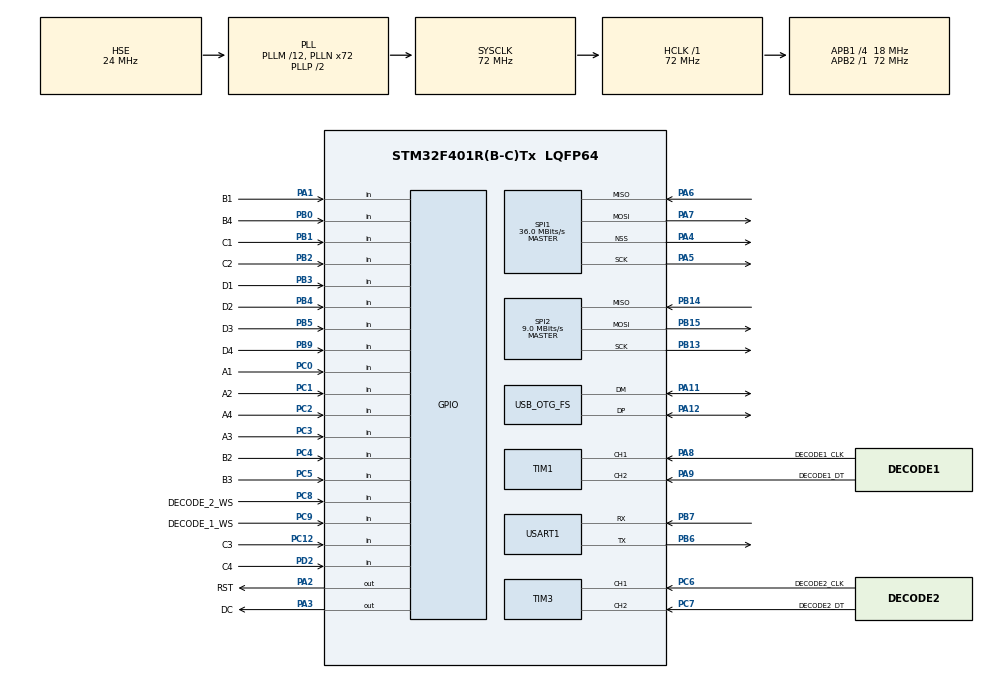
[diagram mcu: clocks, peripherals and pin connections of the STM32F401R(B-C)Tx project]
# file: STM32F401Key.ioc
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FREERTOS.Tasks01=defaultTask,0,128,StartDefaultTask,Default,NULL,Dynamic,NULL,NULL;Button_State,-3,128,State,As weak,NULL,Dynamic,NULL,NULL;Line1,-3,128,Line1_RGB,As weak,NULL,Dynamic,NULL,NULL;Line2,-3,128,Line2_RGB,As weak,NULL,Dynamic,NULL,NULL;Line3,-3,128,Line3_RGB,As weak,NULL,Dynamic,NULL,NULL;Line4,-3,128,Line4_RGB,As weak,NULL,Dynamic,NULL,NULL;display,-3,128,Display,As weak,NULL,Dynamic,NULL,NULL;usart,-3,128,Usart_Content,As weak,NULL,Dynamic,NULL,NULL
Mcu.Family=STM32F4
Mcu.Name=STM32F401R(B-C)Tx
Mcu.Package=LQFP64
NVIC.OTG_FS_IRQn=true\:5\:0\:false\:false\:true\:true\:false\:true\:true
NVIC.PriorityGroup=NVIC_PRIORITYGROUP_4
NVIC.USART1_IRQn=true\:5\:0\:false\:false\:true\:true\:true\:true\:true
PA1.GPIO_Label=B1
PA1.GPIO_PuPd=GPIO_PULLUP
PA1.Signal=GPIO_Input
PA11.Mode=Device_Only
PA11.Signal=USB_OTG_FS_DM
PA12.Mode=Device_Only
PA12.Signal=USB_OTG_FS_DP
PA13.Mode=Serial_Wire
PA13.Signal=SYS_JTMS-SWDIO
PA14.Mode=Serial_Wire
PA14.Signal=SYS_JTCK-SWCLK
PA2.GPIO_Label=RST
PA2.GPIO_PuPd=GPIO_NOPULL
PA2.Signal=GPIO_Output
PA3.GPIO_Label=DC
PA3.GPIO_PuPd=GPIO_NOPULL
PA3.Signal=GPIO_Output
PA4.Mode=NSS_Signal_Hard_Output
PA4.Signal=SPI1_NSS
PA5.Mode=Full_Duplex_Master
PA5.Signal=SPI1_SCK
PA6.Mode=Full_Duplex_Master
PA6.Signal=SPI1_MISO
PA7.Mode=Full_Duplex_Master
PA7.Signal=SPI1_MOSI
PA8.GPIO_Label=DECODE1_CLK
PA8.Signal=S_TIM1_CH1
PA9.GPIO_Label=DECODE1_DT
PA9.Signal=S_TIM1_CH2
PB0.GPIO_Label=B4
PB0.GPIO_PuPd=GPIO_PULLUP
PB0.Signal=GPIO_Input
PB1.GPIO_Label=C1
PB1.GPIO_PuPd=GPIO_PULLUP
PB1.Signal=GPIO_Input
PB13.Mode=Full_Duplex_Master
PB13.Signal=SPI2_SCK
PB14.Mode=Full_Duplex_Master
PB14.Signal=SPI2_MISO
PB15.Mode=Full_Duplex_Master
PB15.Signal=SPI2_MOSI
PB2.GPIO_Label=C2
PB2.GPIO_PuPd=GPIO_PULLUP
PB2.Signal=GPIO_Input
PB3.GPIO_Label=D1
PB3.GPIO_PuPd=GPIO_PULLUP
PB3.Signal=GPIO_Input
PB4.GPIO_Label=D2
PB4.GPIO_PuPd=GPIO_PULLUP
PB4.Signal=GPIO_Input
PB5.GPIO_Label=D3
PB5.GPIO_PuPd=GPIO_PULLUP
PB5.Signal=GPIO_Input
PB6.Mode=Asynchronous
PB6.Signal=USART1_TX
PB7.Mode=Asynchronous
PB7.Signal=USART1_RX
PB9.GPIO_Label=D4
PB9.GPIO_PuPd=GPIO_PULLUP
PB9.Signal=GPIO_Input
PC0.GPIO_Label=A1
PC0.GPIO_PuPd=GPIO_PULLUP
PC0.Signal=GPIO_Input
PC1.GPIO_Label=A2
PC1.GPIO_PuPd=GPIO_PULLUP
PC1.Signal=GPIO_Input
PC12.GPIO_Label=C3
PC12.GPIO_PuPd=GPIO_PULLUP
PC12.Signal=GPIO_Input
PC2.GPIO_Label=A4
PC2.GPIO_PuPd=GPIO_PULLUP
PC2.Signal=GPIO_Input
PC3.GPIO_Label=A3
PC3.GPIO_PuPd=GPIO_PULLUP
PC3.Signal=GPIO_Input
PC4.GPIO_Label=B2
PC4.GPIO_PuPd=GPIO_PULLUP
PC4.Signal=GPIO_Input
PC5.GPIO_Label=B3
PC5.GPIO_PuPd=GPIO_PULLUP
PC5.Signal=GPIO_Input
PC6.GPIO_Label=DECODE2_CLK
PC6.Signal=S_TIM3_CH1
PC7.GPIO_Label=DECODE2_DT
PC7.Signal=S_TIM3_CH2
PC8.GPIO_Label=DECODE_2_WS
PC8.Signal=GPIO_Input
PC9.GPIO_Label=DECODE_1_WS
PC9.Signal=GPIO_Input
PD2.GPIO_Label=C4
PD2.GPIO_PuPd=GPIO_PULLUP
PD2.Signal=GPIO_Input
PH0\ -\ OSC_IN.Mode=HSE-External-Oscillator
PH0\ -\ OSC_IN.Signal=RCC_OSC_IN
PH1\ -\ OSC_OUT.Mode=HSE-External-Oscillator
PH1\ -\ OSC_OUT.Signal=RCC_OSC_OUT
ProjectManager.HeapSize=0x200
ProjectManager.StackSize=0x400
ProjectManager.TargetToolchain=STM32CubeIDE
RCC.48MHZClocksFreq_Value=48000000
RCC.AHBFreq_Value=72000000
RCC.APB1CLKDivider=RCC_HCLK_DIV4
RCC.APB1Freq_Value=18000000
RCC.APB1TimFreq_Value=36000000
RCC.APB2Freq_Value=72000000
RCC.APB2TimFreq_Value=72000000
RCC.CortexFreq_Value=72000000
RCC.HCLKFreq_Value=72000000
RCC.HSE_VALUE=24000000
RCC.HSI_VALUE=16000000
RCC.LSE_VALUE=32768
RCC.PLLM=12
RCC.PLLN=72
RCC.PLLQ=3
RCC.SYSCLKFreq_VALUE=72000000
RCC.SYSCLKSource=RCC_SYSCLKSOURCE_PLLCLK
RCC.VCOOutputFreq_Value=144000000
SH.S_TIM1_CH1.0=TIM1_CH1,Encoder_Interface
SH.S_TIM1_CH2.0=TIM1_CH2,Encoder_Interface
SH.S_TIM3_CH1.0=TIM3_CH1,Encoder_Interface
SH.S_TIM3_CH2.0=TIM3_CH2,Encoder_Interface
SPI1.CalculateBaudRate=36.0 MBits/s
SPI1.Direction=SPI_DIRECTION_2LINES
SPI1.Mode=SPI_MODE_MASTER
SPI1.VirtualNSS=VM_NSSHARD
SPI1.VirtualType=VM_MASTER
SPI2.BaudRatePrescaler=SPI_BAUDRATEPRESCALER_2
SPI2.CalculateBaudRate=9.0 MBits/s
SPI2.Direction=SPI_DIRECTION_2LINES
SPI2.Mode=SPI_MODE_MASTER
SPI2.VirtualType=VM_MASTER
USART1.VirtualMode=VM_ASYNC
USB_DEVICE.CLASS_NAME_FS=HID
USB_DEVICE.VirtualMode=Hid
USB_DEVICE.VirtualModeFS=Hid_FS
USB_OTG_FS.VirtualMode=Device_Only
VP_CRC_VS_CRC.Mode=CRC_Activate
VP_FREERTOS_VS_CMSIS_V1.Mode=CMSIS_V1
VP_MBEDTLS_VS_MBEDTLS.Mode=Enabled
VP_USB_DEVICE_VS_USB_DEVICE_HID_FS.Mode=HID_FS
board=custom

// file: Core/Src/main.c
/* USER CODE BEGIN Header */
/**
  ******************************************************************************
  * @file           : main.c
  * @brief          : Main program body
  ******************************************************************************
  * @attention
  *
  * Copyright (c) 2024 STMicroelectronics.
  * All rights reserved.
  *
  * This software is licensed under terms that can be found in the LICENSE file
  * in the root directory of this software component.
  * If no LICENSE file comes with this software, it is provided AS-IS.
  *
  ******************************************************************************
  */
/* USER CODE END Header */
#include "main.h"
#include "cmsis_os.h"
#include "crc.h"
#include "mbedtls.h"
#include "spi.h"
#include "tim.h"
#include "usart.h"
#include "usb_device.h"
#include "gpio.h"

/* USER CODE BEGIN Includes */
#include "u8g2/u8g2.h"
#include "ws2812/ws2812.h"
/* USER CODE END Includes */

/* USER CODE BEGIN PM */
int count = 0;

/* USER CODE END PM */

void SystemClock_Config(void);

void MX_FREERTOS_Init(void);

/* USER CODE BEGIN PFP */

void getDeCodeValue_1(TIM_HandleTypeDef *htim) {
  count = __HAL_TIM_GET_COUNTER(&htim1) / 2;

  if (count > 100)count = 100;
  if (count < 0)count = 0;
}

void guiCommand(u8g2_t u8g2, int x, int y) {
  u8g2_DrawRFrame(&u8g2, x, y, 40, 40, 5);
  u8g2_DrawCircle(&u8g2, x + 10, y + 10, 5, U8G2_DRAW_LOWER_LEFT | U8G2_DRAW_UPPER_LEFT | U8G2_DRAW_UPPER_RIGHT);
  u8g2_DrawCircle(&u8g2, x + 29, y + 10, 5, U8G2_DRAW_LOWER_RIGHT | U8G2_DRAW_UPPER_LEFT | U8G2_DRAW_UPPER_RIGHT);
  u8g2_DrawCircle(&u8g2, x + 10, y + 30, 5, U8G2_DRAW_LOWER_RIGHT | U8G2_DRAW_LOWER_LEFT | U8G2_DRAW_UPPER_LEFT);
  u8g2_DrawCircle(&u8g2, x + 29, y + 30, 5, U8G2_DRAW_LOWER_RIGHT | U8G2_DRAW_UPPER_RIGHT | U8G2_DRAW_LOWER_LEFT);
  u8g2_DrawHLine(&u8g2, x + 10, y + 15, 20);
  u8g2_DrawHLine(&u8g2, x + 10, y + 25, 20);
  u8g2_DrawVLine(&u8g2, x + 15, y + 11, 20);
  u8g2_DrawVLine(&u8g2, x + 24, y + 11, 20);
}

void guiShift(u8g2_t u8g2, int x, int y) {
  u8g2_DrawRFrame(&u8g2, x, y, 40, 40, 5);
  u8g2_DrawVLine(&u8g2, x + 25, y + 20, 10);
  u8g2_DrawVLine(&u8g2, x + 15, y + 20, 10);
  u8g2_DrawHLine(&u8g2, x + 15, y + 30, 11);
  u8g2_DrawHLine(&u8g2, x + 8, y + 20, 7);
  u8g2_DrawHLine(&u8g2, x + 26, y + 20, 7);
  u8g2_DrawLine(&u8g2, x + 8, y + 20, x + 20, y + 8);
  u8g2_DrawLine(&u8g2, x + 20, y + 8, x + 32, y + 20);
}

void guiEnter(u8g2_t u8g2, int x, int y) {
  u8g2_DrawRFrame(&u8g2, x, y, 40, 40, 5);
  u8g2_DrawHLine(&u8g2, x + 11, y + 24, 15);
  u8g2_DrawHLine(&u8g2, x + 16, y + 14, 7);
  u8g2_DrawCircle(&u8g2, x + 23, y + 19, 5, U8G2_DRAW_UPPER_RIGHT);
  u8g2_DrawCircle(&u8g2, x + 23, y + 19, 5, U8G2_DRAW_LOWER_RIGHT);
  u8g2_DrawLine(&u8g2, x + 11, y + 24, x + 14, y + 27);
  u8g2_DrawLine(&u8g2, x + 11, y + 24, x + 14, y + 21);
}

void guiControl(u8g2_t u8g2, int x, int y) {
  u8g2_DrawRFrame(&u8g2, x, y, 40, 40, 5);
  u8g2_DrawLine(&u8g2, x + 8, y + 25, x + 20, y + 13);
  u8g2_DrawLine(&u8g2, x + 20, y + 13, x + 32, y + 25);
}

void guiOption(u8g2_t u8g2, int x, int y) {
  u8g2_DrawRFrame(&u8g2, x, y, 40, 40, 5);
  u8g2_DrawHLine(&u8g2, x + 7, y + 10, 7);
  u8g2_DrawHLine(&u8g2, x + 24, y + 10, 7);
  u8g2_DrawLine(&u8g2, x + 14, y + 12, x + 25, y + 29);
  u8g2_DrawHLine(&u8g2, x + 26, y + 29, 7);
}

void guiFont(u8g2_t u8g2, int x, int y, const char *str) {
  u8g2_DrawRFrame(&u8g2, x, y, 40, 40, 5);
  u8g2_DrawStr(&u8g2, x + 15, y + 26, str);
}

/* USER CODE END PFP */

int main(void) {

  /* MCU Configuration--------------------------------------------------------*/

  /* Reset of all peripherals, Initializes the Flash interface and the Systick. */
  HAL_Init();

  /* Configure the system clock */
  SystemClock_Config();

  /* Initialize all configured peripherals */
  MX_GPIO_Init();
  MX_SPI1_Init();
  MX_TIM1_Init();
  MX_USART1_UART_Init();
  MX_TIM3_Init();
  MX_SPI2_Init();
  MX_MBEDTLS_Init();
  MX_CRC_Init();
  /* Call PreOsInit function */
  MX_MBEDTLS_Init();
  /* USER CODE BEGIN 2 */

  HAL_TIM_Encoder_Start(&htim1, TIM_CHANNEL_ALL);

  // WS2812B_Task();

  /* USER CODE END 2 */

  /* Call init function for freertos objects (in freertos.c) */
  MX_FREERTOS_Init();

  /* Start scheduler */
  osKernelStart();

  /* We should never get here as control is now taken by the scheduler */
  /* Infinite loop */
  /* USER CODE BEGIN WHILE */
  while (1) {
//    getDeCodeValue_1(&htim1);
//    u8g2_ClearBuffer(&u8g2);
    int x = 0;
    int y = 0;

//    u8g2_DrawPixel();

//    u8g2_SendBuffer(&u8g2);
    // HAL_Delay(500);
    /* USER CODE END WHILE */

  }
}

void SystemClock_Config(void) {
  RCC_OscInitTypeDef RCC_OscInitStruct = {0};
  RCC_ClkInitTypeDef RCC_ClkInitStruct = {0};

  /** Configure the main internal regulator output voltage
  */
  __HAL_RCC_PWR_CLK_ENABLE();
  __HAL_PWR_VOLTAGESCALING_CONFIG(PWR_REGULATOR_VOLTAGE_SCALE2);

  /** Initializes the RCC Oscillators according to the specified parameters
  * in the RCC_OscInitTypeDef structure.
  */
  RCC_OscInitStruct.OscillatorType = RCC_OSCILLATORTYPE_HSE;
  RCC_OscInitStruct.HSEState = RCC_HSE_ON;
  RCC_OscInitStruct.PLL.PLLState = RCC_PLL_ON;
  RCC_OscInitStruct.PLL.PLLSource = RCC_PLLSOURCE_HSE;
  RCC_OscInitStruct.PLL.PLLM = 12;
  RCC_OscInitStruct.PLL.PLLN = 72;
  RCC_OscInitStruct.PLL.PLLP = RCC_PLLP_DIV2;
  RCC_OscInitStruct.PLL.PLLQ = 3;
  if (HAL_RCC_OscConfig(&RCC_OscInitStruct) != HAL_OK) {
    Error_Handler();
  }

  /** Initializes the CPU, AHB and APB buses clocks
  */
  RCC_ClkInitStruct.ClockType = RCC_CLOCKTYPE_HCLK | RCC_CLOCKTYPE_SYSCLK
                                | RCC_CLOCKTYPE_PCLK1 | RCC_CLOCKTYPE_PCLK2;
  RCC_ClkInitStruct.SYSCLKSource = RCC_SYSCLKSOURCE_PLLCLK;
  RCC_ClkInitStruct.AHBCLKDivider = RCC_SYSCLK_DIV1;
  RCC_ClkInitStruct.APB1CLKDivider = RCC_HCLK_DIV4;
  RCC_ClkInitStruct.APB2CLKDivider = RCC_HCLK_DIV1;

  if (HAL_RCC_ClockConfig(&RCC_ClkInitStruct, FLASH_LATENCY_2) != HAL_OK) {
    Error_Handler();
  }
}

void Error_Handler(void) {
  __disable_irq();
  while (1) {
  }
}

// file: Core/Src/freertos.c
/* USER CODE BEGIN Header */
/**
  ******************************************************************************
  * File Name          : freertos.c
  * Description        : Code for freertos applications
  ******************************************************************************
  * @attention
  *
  * Copyright (c) 2024 STMicroelectronics.
  * All rights reserved.
  *
  * This software is licensed under terms that can be found in the LICENSE file
  * in the root directory of this software component.
  * If no LICENSE file comes with this software, it is provided AS-IS.
  *
  ******************************************************************************
  */
/* USER CODE END Header */

#include "FreeRTOS.h"
#include "task.h"
#include "main.h"
#include "cmsis_os.h"

/* USER CODE BEGIN Includes */
#include "ws2812/ws2812.h"
#include "u8g2/u8g2.h"
#include "usart.h"
#include "crc.h"
/* USER CODE END Includes */

/* USER CODE BEGIN PM */

int button_pin[] = {A1_Pin, A2_Pin, A3_Pin, A4_Pin, B1_Pin, B2_Pin, B3_Pin, B4_Pin, C1_Pin, C2_Pin, C3_Pin, C4_Pin,
                    D1_Pin, D2_Pin, D3_Pin, D4_Pin};
GPIO_TypeDef *button_port[] = {A1_GPIO_Port, A2_GPIO_Port, A3_GPIO_Port, A4_GPIO_Port, B1_GPIO_Port, B2_GPIO_Port,
                               B3_GPIO_Port, B4_GPIO_Port,
                               C1_GPIO_Port, C2_GPIO_Port, C3_GPIO_Port, C4_GPIO_Port, D1_GPIO_Port, D2_GPIO_Port,
                               D3_GPIO_Port, D4_GPIO_Port};

/* USER CODE END PM */

osThreadId defaultTaskHandle;
osThreadId Button_StateHandle;
osThreadId Line1Handle;
osThreadId Line2Handle;
osThreadId Line3Handle;
osThreadId Line4Handle;
osThreadId displayHandle;
osThreadId usartHandle;

void StartDefaultTask(void const *argument);

void State(void const *argument);

void Line1_RGB(void const *argument);

void Line2_RGB(void const *argument);

void Line3_RGB(void const *argument);

void Line4_RGB(void const *argument);

void Display(void const *argument);

void Usart_Content(void const *argument);

extern void MX_USB_DEVICE_Init(void);

void MX_FREERTOS_Init(void); /* (MISRA C 2004 rule 8.1) */

/* GetIdleTaskMemory prototype (linked to static allocation support) */
void vApplicationGetIdleTaskMemory(StaticTask_t **ppxIdleTaskTCBBuffer, StackType_t **ppxIdleTaskStackBuffer,
                                   uint32_t *pulIdleTaskStackSize);

/* USER CODE BEGIN GET_IDLE_TASK_MEMORY */
static StaticTask_t xIdleTaskTCBBuffer;
static StackType_t xIdleStack[configMINIMAL_STACK_SIZE];

void vApplicationGetIdleTaskMemory(StaticTask_t **ppxIdleTaskTCBBuffer, StackType_t **ppxIdleTaskStackBuffer,
                                   uint32_t *pulIdleTaskStackSize) {
  *ppxIdleTaskTCBBuffer = &xIdleTaskTCBBuffer;
  *ppxIdleTaskStackBuffer = &xIdleStack[0];
  *pulIdleTaskStackSize = configMINIMAL_STACK_SIZE;
  /* place for user code */
}
/* USER CODE END GET_IDLE_TASK_MEMORY */

void MX_FREERTOS_Init(void) {

  /* Create the thread(s) */
  /* definition and creation of defaultTask */
  osThreadDef(defaultTask, StartDefaultTask, osPriorityNormal, 0, 128);
  defaultTaskHandle = osThreadCreate(osThread(defaultTask), NULL);

  /* definition and creation of Button_State */
  osThreadDef(Button_State, State, osPriorityIdle, 0, 128);
  Button_StateHandle = osThreadCreate(osThread(Button_State), NULL);

  /* definition and creation of Line1 */
  osThreadDef(Line1, Line1_RGB, osPriorityIdle, 0, 128);
  Line1Handle = osThreadCreate(osThread(Line1), NULL);

  /* definition and creation of Line2 */
  osThreadDef(Line2, Line2_RGB, osPriorityIdle, 0, 128);
  Line2Handle = osThreadCreate(osThread(Line2), NULL);

  /* definition and creation of Line3 */
  osThreadDef(Line3, Line3_RGB, osPriorityIdle, 0, 128);
  Line3Handle = osThreadCreate(osThread(Line3), NULL);

  /* definition and creation of Line4 */
  osThreadDef(Line4, Line4_RGB, osPriorityIdle, 0, 128);
  Line4Handle = osThreadCreate(osThread(Line4), NULL);

  /* definition and creation of display */
  osThreadDef(display, Display, osPriorityIdle, 0, 128);
  displayHandle = osThreadCreate(osThread(display), NULL);

  /* definition and creation of usart */
  osThreadDef(usart, Usart_Content, osPriorityIdle, 0, 128);
  usartHandle = osThreadCreate(osThread(usart), NULL);

}

void StartDefaultTask(void const *argument) {
  /* init code for USB_DEVICE */
  MX_USB_DEVICE_Init();
  for (;;) {
    osDelay(1);
  }
}

__weak void State(void const *argument) {
  for (;;) {
  }
}

__weak void Line1_RGB(void const *argument) {
  /* USER CODE BEGIN Line1_RGB */
  /* Infinite loop */
  for (;;) {
    if (HAL_GPIO_ReadPin(A1_GPIO_Port, A1_Pin) == GPIO_PIN_RESET) {
      WS2812B_User_Task(3, 0xFF, 0x86, 0x86);
      HAL_UART_Transmit(&huart1, (const uint8_t *) 0xA1, 8, 0xFFFF);
    } else {
      WS2812B_User_Task(3, 0x00, 0x00, 0x00);
    }
    if (HAL_GPIO_ReadPin(A2_GPIO_Port, A2_Pin) == GPIO_PIN_RESET) {
      WS2812B_User_Task(2, 0xFF, 0x86, 0x86);
    } else {
      WS2812B_User_Task(2, 0x00, 0x00, 0x00);
    }
    if (HAL_GPIO_ReadPin(A3_GPIO_Port, A3_Pin) == GPIO_PIN_RESET) {
      WS2812B_User_Task(1, 0xFF, 0x86, 0x86);
    } else {
      WS2812B_User_Task(1, 0x00, 0x00, 0x00);
    }
    if (HAL_GPIO_ReadPin(A4_GPIO_Port, A4_Pin) == GPIO_PIN_RESET) {
      WS2812B_User_Task(0, 0xFF, 0x86, 0x86);
    } else {
      WS2812B_User_Task(0, 0x00, 0x00, 0x00);
    }
    WS2812_Send_Data();
  }
  /* USER CODE END Line1_RGB */
}

__weak void Line2_RGB(void const *argument) {
  /* USER CODE BEGIN Line2_RGB */
  /* Infinite loop */
  for (;;) {
    if (HAL_GPIO_ReadPin(B1_GPIO_Port, B1_Pin) == GPIO_PIN_RESET) {
      WS2812B_User_Task(7, 0xFF, 0x86, 0x86);
    } else {
      WS2812B_User_Task(7, 0x00, 0x00, 0x00);
    }
    if (HAL_GPIO_ReadPin(B2_GPIO_Port, B2_Pin) == GPIO_PIN_RESET) {
      WS2812B_User_Task(6, 0xFF, 0x86, 0x86);
    } else {
      WS2812B_User_Task(6, 0x00, 0x00, 0x00);
    }
    if (HAL_GPIO_ReadPin(B3_GPIO_Port, B3_Pin) == GPIO_PIN_RESET) {
      WS2812B_User_Task(5, 0xFF, 0x86, 0x86);
    } else {
      WS2812B_User_Task(5, 0x00, 0x00, 0x00);
    }
    if (HAL_GPIO_ReadPin(B4_GPIO_Port, B4_Pin) == GPIO_PIN_RESET) {
      WS2812B_User_Task(4, 0xFF, 0x86, 0x86);
    } else {
      WS2812B_User_Task(4, 0x00, 0x00, 0x00);
    }
    WS2812_Send_Data();
  }
  /* USER CODE END Line2_RGB */
}

__weak void Line3_RGB(void const *argument) {
  /* USER CODE BEGIN Line3_RGB */
  /* Infinite loop */
  for (;;) {
    if (HAL_GPIO_ReadPin(C1_GPIO_Port, C1_Pin) == GPIO_PIN_RESET) {
      WS2812B_User_Task(11, 0xFF, 0x86, 0x86);
    } else {
      WS2812B_User_Task(11, 0x00, 0x00, 0x00);
    }
    if (HAL_GPIO_ReadPin(C2_GPIO_Port, C2_Pin) == GPIO_PIN_RESET) {
      WS2812B_User_Task(10, 0xFF, 0x86, 0x86);
    } else {
      WS2812B_User_Task(10, 0x00, 0x00, 0x00);
    }
    if (HAL_GPIO_ReadPin(C3_GPIO_Port, C3_Pin) == GPIO_PIN_RESET) {
      WS2812B_User_Task(9, 0xFF, 0x86, 0x86);
    } else {
      WS2812B_User_Task(9, 0x00, 0x00, 0x00);
    }
    if (HAL_GPIO_ReadPin(C4_GPIO_Port, C4_Pin) == GPIO_PIN_RESET) {
      WS2812B_User_Task(8, 0xFF, 0x86, 0x86);
    } else {
      WS2812B_User_Task(8, 0x00, 0x00, 0x00);
    }
    WS2812_Send_Data();
  }
  /* USER CODE END Line3_RGB */
}

__weak void Line4_RGB(void const *argument) {
  /* USER CODE BEGIN Line4_RGB */
  /* Infinite loop */
  for (;;) {
    if (HAL_GPIO_ReadPin(D1_GPIO_Port, D1_Pin) == GPIO_PIN_RESET) {
      WS2812B_User_Task(15, 0xFF, 0x86, 0x86);
    } else {
      WS2812B_User_Task(15, 0x00, 0x00, 0x00);
    }
    if (HAL_GPIO_ReadPin(D2_GPIO_Port, D2_Pin) == GPIO_PIN_RESET) {
      WS2812B_User_Task(14, 0xFF, 0x86, 0x86);
    } else {
      WS2812B_User_Task(14, 0x00, 0x00, 0x00);
    }
    if (HAL_GPIO_ReadPin(D3_GPIO_Port, D3_Pin) == GPIO_PIN_RESET) {
      WS2812B_User_Task(13, 0xFF, 0x86, 0x86);
    } else {
      WS2812B_User_Task(13, 0x00, 0x00, 0x00);
    }
    if (HAL_GPIO_ReadPin(D4_GPIO_Port, D4_Pin) == GPIO_PIN_RESET) {
      WS2812B_User_Task(12, 0xFF, 0x86, 0x86);
    } else {
      WS2812B_User_Task(12, 0x00, 0x00, 0x00);
    }
    WS2812_Send_Data();
  }

  /* USER CODE END Line4_RGB */
}

__weak void Display(void const *argument) {
  /* USER CODE BEGIN Display */
  static u8g2_t u8g2;
  u8g2Init(&u8g2);
  u8g2_SetFont(&u8g2, u8g2_font_10x20_me);
  u8g2_DrawStr(&u8g2, 30, 70, "NicoCat");
  u8g2_SendBuffer(&u8g2);

  /* Infinite loop */
  for (;;) {
    osDelay(1);
  }
  /* USER CODE END Display */
}

__weak void Usart_Content(void const *argument) {
  /* USER CODE BEGIN Usart_Content */
  /* Infinite loop */
  for (;;) {
    uint8_t data[10] = {0xff, 0x01, 0xac, 0xfe};
//    HAL_UART_Transmit(&huart1, data, sizeof data, 0xFFFF);
    osDelay(500);
  }
  /* USER CODE END Usart_Content */
}
